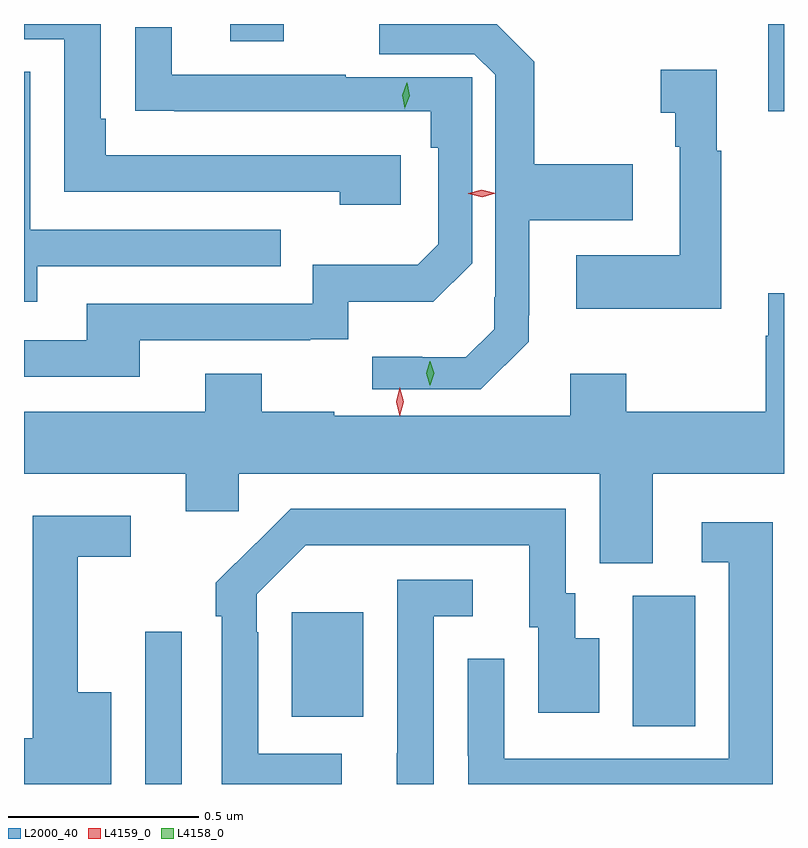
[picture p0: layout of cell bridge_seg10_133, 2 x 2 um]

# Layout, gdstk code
import gdstk
lib = gdstk.Library(unit=1e-6, precision=1e-09)
def R(c, l, rs):  # rectangles x0, y0, x1, y1
    for r in rs: c.add(gdstk.rectangle(r[:2], r[2:], *l))
def P(c, l, *ps):  # polygons
    for p in ps: c.add(gdstk.Polygon(p, *l))
L2000_40 = (2000, 40)
L4158_0 = (4158, 0)
L4159_0 = (4159, 0)

bridge_seg10_133 = lib.new_cell('bridge_seg10_133')
R(bridge_seg10_133, L2000_40, [(360.993,1314.152,361.089,1314.553), (362.276,1314.304,362.44,1314.648), (361.379,1314.329,361.567,1314.604), (362.633,1315.923,362.674,1316.152), (361.217,1316.106,361.357,1316.152)])
P(bridge_seg10_133, L2000_40, [(362.002,1315.316),(362.002,1315.385),(362.003,1315.385),(362.003,1315.635),(362.276,1315.635),(362.276,1315.783),(362.017,1315.783),(362.017,1316.053),(361.918,1316.152),(361.609,1316.152),(361.609,1316.073),(361.859,1316.073),(361.914,1316.018),(361.914,1315.433),(361.912,1315.433),(361.912,1315.349),(361.837,1315.275),(361.722,1315.275),(361.722,1315.276),(361.591,1315.276),(361.591,1315.191),(361.876,1315.191)],
  [(361.666,1315.806),(360.889,1315.806),(360.889,1315.903),(360.876,1315.903),(360.876,1316.152),(360.674,1316.152),(360.674,1316.112),(360.78,1316.112),(360.78,1315.71),(361.505,1315.71),(361.505,1315.676),(361.666,1315.676)],
  [(360.979,1315.32),(361.427,1315.32),(361.427,1315.323),(361.527,1315.323),(361.527,1315.421),(361.751,1315.421),(361.853,1315.523),(361.853,1316.012),(361.521,1316.012),(361.521,1316.019),(361.063,1316.019),(361.063,1316.143),(360.967,1316.143),(360.967,1315.924),(361.069,1315.924),(361.069,1315.922),(361.744,1315.922),(361.744,1315.826),(361.764,1315.826),(361.764,1315.573),(361.71,1315.519),(361.434,1315.519),(361.434,1315.416),(360.839,1315.416),(360.839,1315.32),(360.674,1315.32),(360.674,1315.224),(360.979,1315.224)],
  [(362.509,1315.819),(362.497,1315.819),(362.497,1316.032),(362.349,1316.032),(362.349,1315.919),(362.388,1315.919),(362.388,1315.829),(362.4,1315.829),(362.4,1315.543),(362.127,1315.543),(362.127,1315.403),(362.509,1315.403)],
  [(360.709,1315.515),(361.349,1315.515),(361.349,1315.611),(360.69,1315.611),(360.69,1316.027),(360.674,1316.027),(360.674,1315.421),(360.709,1315.421)],
  [(362.329,1314.968),(362.674,1314.968),(362.674,1315.444),(362.633,1315.444),(362.633,1315.331),(362.626,1315.331),(362.626,1315.132),(362.259,1315.132),(362.259,1315.231),(362.111,1315.231),(362.111,1315.121),(361.491,1315.121),(361.491,1315.132),(361.299,1315.132),(361.299,1315.231),(361.151,1315.231),(361.151,1315.132),(360.674,1315.132),(360.674,1314.968),(361.1,1314.968),(361.1,1314.87),(361.239,1314.87),(361.239,1314.968),(362.189,1314.968),(362.189,1314.733),(362.329,1314.733)],
  [(361.51,1314.231),(361.29,1314.231),(361.29,1314.551),(361.287,1314.551),(361.287,1314.651),(361.416,1314.78),(362.003,1314.78),(362.003,1314.564),(362.027,1314.564),(362.027,1314.339),(362.188,1314.339),(362.188,1314.535),(362.125,1314.535),(362.125,1314.654),(362.1,1314.654),(362.1,1314.876),(361.376,1314.876),(361.285,1314.785),(361.284,1314.786),(361.179,1314.681),(361.179,1314.593),(361.194,1314.593),(361.194,1314.152),(361.51,1314.152)],
  [(360.904,1314.394),(360.815,1314.394),(360.815,1314.75),(360.955,1314.75),(360.955,1314.858),(360.697,1314.858),(360.697,1314.272),(360.674,1314.272),(360.674,1314.152),(360.904,1314.152)],
  [(362.645,1314.841),(362.457,1314.841),(362.457,1314.735),(362.529,1314.735),(362.529,1314.219),(361.938,1314.219),(361.938,1314.481),(361.842,1314.481),(361.842,1314.226),(361.843,1314.226),(361.843,1314.152),(362.645,1314.152)],
  [(361.752,1314.594),(361.855,1314.594),(361.855,1314.69),(361.656,1314.69),(361.656,1314.233),(361.655,1314.233),(361.655,1314.152),(361.752,1314.152)])
P(bridge_seg10_133, L4158_0, [(361.742,1315.202),(361.733,1315.233),(361.742,1315.264),(361.743,1315.264),(361.743,1315.264),(361.753,1315.233),(361.743,1315.202),(361.743,1315.202)],
  [(361.676,1315.929),(361.676,1315.93),(361.669,1315.964),(361.681,1315.998),(361.681,1315.998),(361.682,1315.998),(361.689,1315.963),(361.676,1315.93)])
P(bridge_seg10_133, L4159_0, [(361.88,1315.696),(361.843,1315.705),(361.843,1315.705),(361.843,1315.706),(361.879,1315.716),(361.916,1315.706),(361.916,1315.706),(361.916,1315.706)],
  [(361.663,1315.12),(361.663,1315.12),(361.653,1315.158),(361.663,1315.196),(361.663,1315.196),(361.663,1315.196),(361.673,1315.158),(361.663,1315.12)])

lib.write_gds('bridge_seg10_133.gds')
